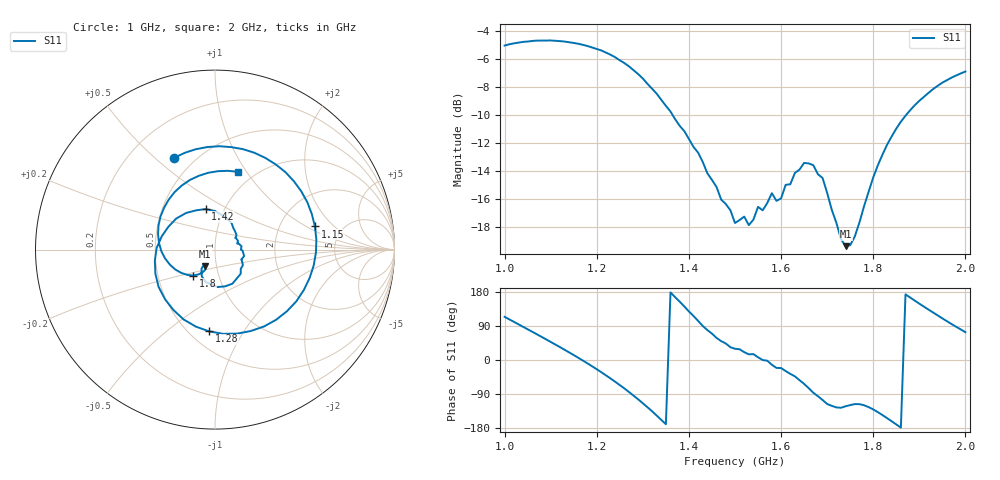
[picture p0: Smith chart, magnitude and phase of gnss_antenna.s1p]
#  HZ  S  RI  R  50.00
! Rohde & Schwarz Vector Network Analyzer
! Rohde-Schwarz,ZNB20-2Port,1311601062102243,3.20
! Created: UTC 10/7/2022, 3:43:22 PM
! freq[Hz]  re:S11  im:S11
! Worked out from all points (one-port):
!   101 points, 1 GHz to 2 GHz, reference 50 ohm
!   lowest |S11| = -19.4 dB at 1.74 GHz (marker M1), VSWR 1.24, Z = 43.9 - j8.1 ohm
!   |S11| at or under -10 dB: 1.365 GHz to 1.871 GHz (506.9 MHz wide, 31.3 % of centre)
!   S11 on the Smith chart (normalised r, x): 1 GHz: 0.39, +0.58; 1.15 GHz: 3.16, +1.21; 1.28 GHz: 0.62, -0.71; 1.42 GHz: 0.82, +0.39; 1.8 GHz: 0.75, -0.23; 2 GHz: 0.84, +0.91
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1e9  -0.2268 0.5114
1.06e9  0.1553 0.5598
1.09e9  0.3383 0.4746
1.13e9  0.5147 0.2634
1.15e9  0.5567 0.1289
1.2e9  0.4951 -0.2248
1.25e9  0.1995 -0.4535
1.28e9  -0.0332 -0.4553
1.33e9  -0.3143 -0.2078
1.36e9  -0.3252 0.00925
1.38e9  -0.2598 0.1271
1.42e9  -0.0529 0.2259
1.46e9  0.092 0.1488
1.5e9  0.113 0.0646
1.53e9  0.1236 0.033
1.58e9  0.1624 -0.0362
1.6e9  0.1485 -0.0576
1.63e9  0.1434 -0.1344
1.66e9  0.0571 -0.2046
1.69e9  -0.0502 -0.1817
1.74e9  -0.0572 -0.0912
1.75e9  -0.0527 -0.0948
1.8e9  -0.1226 -0.1443
1.84e9  -0.2515 -0.0836
1.88e9  -0.3173 0.0853
1.91e9  -0.2842 0.2323
1.95e9  -0.1399 0.388
2e9  0.1286 0.4332
